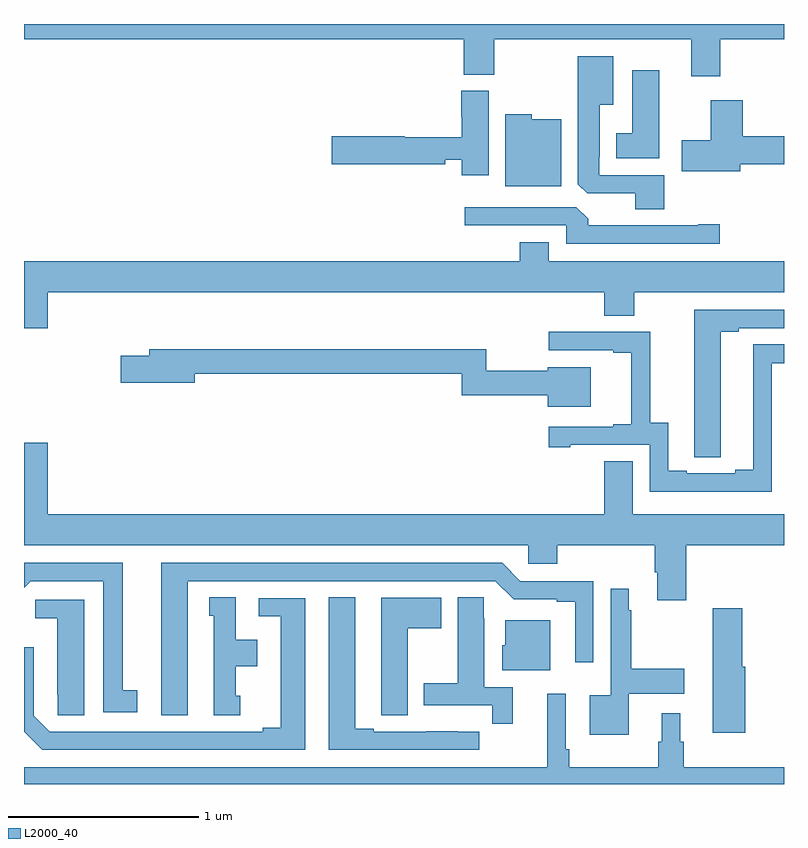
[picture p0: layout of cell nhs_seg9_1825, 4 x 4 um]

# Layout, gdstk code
import gdstk
lib = gdstk.Library(unit=1e-6, precision=1e-09)
def P(c, l, *ps):  # polygons
    for p in ps: c.add(gdstk.Polygon(p, *l))
L2000_40 = (2000, 40)

nhs_seg9_1825 = lib.new_cell('nhs_seg9_1825')
P(nhs_seg9_1825, L2000_40, [(216.665,1196.42),(217,1196.42),(217,1196.5),(213,1196.5),(213,1196.42),(215.315,1196.42),(215.315,1196.233),(215.475,1196.233),(215.475,1196.42),(216.512,1196.42),(216.512,1196.226),(216.665,1196.226)],
  [(216.371,1195.704),(216.027,1195.704),(216.027,1195.801),(216.031,1195.801),(216.031,1196.075),(216.1,1196.075),(216.1,1196.329),(215.915,1196.329),(215.915,1195.657),(215.964,1195.608),(216.218,1195.608),(216.218,1195.525),(216.371,1195.525)],
  [(216.343,1196.257),(216.2,1196.257),(216.2,1195.924),(216.116,1195.924),(216.116,1195.793),(216.343,1195.793)],
  [(215.446,1196.148),(215.3,1196.148),(215.3,1196.012),(215.305,1196.012),(215.305,1195.904),(215.004,1195.904),(215.004,1195.91),(214.62,1195.91),(214.62,1195.763),(215.216,1195.763),(215.216,1195.786),(215.305,1195.786),(215.305,1195.704),(215.446,1195.704)],
  [(216.769,1195.763),(217,1195.763),(217,1195.91),(216.782,1195.91),(216.782,1196.098),(216.614,1196.098),(216.614,1195.887),(216.462,1195.887),(216.462,1195.724),(216.769,1195.724)],
  [(215.827,1195.999),(215.673,1195.999),(215.673,1196.026),(215.534,1196.026),(215.534,1195.646),(215.827,1195.646)],
  [(216.661,1195.445),(216.548,1195.445),(216.548,1195.44),(215.969,1195.44),(215.969,1195.474),(215.907,1195.536),(215.319,1195.536),(215.319,1195.44),(215.853,1195.44),(215.853,1195.344),(216.661,1195.344)],
  [(213.124,1195.088),(216.053,1195.088),(216.053,1194.964),(216.213,1194.964),(216.213,1195.088),(217,1195.088),(217,1195.252),(215.761,1195.252),(215.761,1195.351),(215.609,1195.351),(215.609,1195.252),(213,1195.252),(213,1194.9),(213.124,1194.9)],
  [(216.667,1194.88),(216.763,1194.88),(216.763,1194.9),(217,1194.9),(217,1194.996),(216.527,1194.996),(216.527,1194.328),(216.528,1194.328),(216.528,1194.22),(216.667,1194.22)],
  [(216.936,1194.714),(217,1194.714),(217,1194.815),(216.839,1194.815),(216.839,1194.155),(216.743,1194.155),(216.743,1194.135),(216.487,1194.135),(216.487,1194.15),(216.391,1194.15),(216.391,1194.401),(216.297,1194.401),(216.297,1194.879),(215.763,1194.879),(215.763,1194.783),(216.101,1194.783),(216.101,1194.771),(216.197,1194.771),(216.197,1194.394),(216.101,1194.394),(216.101,1194.381),(215.763,1194.381),(215.763,1194.273),(215.875,1194.273),(215.875,1194.285),(216.294,1194.285),(216.294,1194.039),(216.936,1194.039)],
  [(215.983,1194.694),(215.756,1194.694),(215.756,1194.676),(215.434,1194.676),(215.434,1194.787),(213.659,1194.787),(213.659,1194.753),(213.51,1194.753),(213.51,1194.611),(213.898,1194.611),(213.898,1194.658),(215.305,1194.658),(215.305,1194.547),(215.756,1194.547),(215.756,1194.485),(215.983,1194.485)],
  [(216.485,1193.756),(217,1193.756),(217,1193.92),(216.205,1193.92),(216.205,1194.2),(216.053,1194.2),(216.053,1193.92),(213.124,1193.92),(213.124,1194.295),(213,1194.295),(213,1193.756),(215.655,1193.756),(215.655,1193.658),(215.807,1193.658),(215.807,1193.756),(216.32,1193.756),(216.32,1193.614),(216.332,1193.614),(216.332,1193.466),(216.485,1193.466)],
  [(213.862,1193.568),(215.481,1193.568),(215.577,1193.472),(215.804,1193.472),(215.804,1193.46),(215.9,1193.46),(215.9,1193.142),(215.997,1193.142),(215.997,1193.568),(215.613,1193.568),(215.517,1193.664),(213.722,1193.664),(213.722,1192.863),(213.862,1192.863)],
  [(213.595,1192.994),(213.52,1192.994),(213.52,1193.664),(213,1193.664),(213,1193.532),(213.036,1193.568),(213.416,1193.568),(213.416,1192.878),(213.595,1192.878)],
  [(216.184,1192.976),(216.475,1192.976),(216.475,1193.106),(216.196,1193.106),(216.196,1193.414),(216.184,1193.414),(216.184,1193.527),(216.087,1193.527),(216.087,1192.966),(215.978,1192.966),(215.978,1192.76),(216.184,1192.76)],
  [(214.138,1192.965),(214.114,1192.965),(214.114,1193.12),(214.228,1193.12),(214.228,1193.26),(214.114,1193.26),(214.114,1193.483),(213.974,1193.483),(213.974,1193.385),(213.998,1193.385),(213.998,1192.863),(214.138,1192.863)],
  [(215.573,1193.01),(215.422,1193.01),(215.422,1193.372),(215.421,1193.372),(215.421,1193.483),(215.282,1193.483),(215.282,1193.031),(215.105,1193.031),(215.105,1192.914),(215.464,1192.914),(215.464,1192.818),(215.573,1192.818)],
  [(215.395,1192.776),(215.282,1192.776),(215.282,1192.777),(215.116,1192.777),(215.116,1192.776),(214.84,1192.776),(214.84,1192.791),(214.744,1192.791),(214.744,1193.483),(214.604,1193.483),(214.604,1192.68),(215.395,1192.68)],
  [(215.02,1193.32),(215.197,1193.32),(215.197,1193.479),(214.88,1193.479),(214.88,1192.969),(214.881,1192.969),(214.881,1192.861),(215.02,1192.861)],
  [(214.48,1193.478),(214.236,1193.478),(214.236,1193.382),(214.352,1193.382),(214.352,1192.796),(214.256,1192.796),(214.256,1192.776),(213.135,1192.776),(213.051,1192.86),(213.051,1193.221),(213,1193.221),(213,1192.775),(213.095,1192.68),(214.48,1192.68)],
  [(213.316,1193.469),(213.06,1193.469),(213.06,1193.372),(213.176,1193.372),(213.176,1192.969),(213.177,1192.969),(213.177,1192.861),(213.316,1192.861)],
  [(216.797,1193.118),(216.779,1193.118),(216.779,1193.425),(216.625,1193.425),(216.625,1193.118),(216.626,1193.118),(216.626,1192.77),(216.797,1192.77)],
  [(215.77,1193.362),(215.534,1193.362),(215.534,1193.229),(215.516,1193.229),(215.516,1193.099),(215.77,1193.099)],
  [(217,1192.588),(216.473,1192.588),(216.473,1192.722),(216.454,1192.722),(216.454,1192.873),(216.356,1192.873),(216.356,1192.722),(216.337,1192.722),(216.337,1192.588),(215.87,1192.588),(215.87,1192.684),(215.85,1192.684),(215.85,1192.975),(215.753,1192.975),(215.753,1192.588),(213,1192.588),(213,1192.5),(217,1192.5)])

lib.write_gds('nhs_seg9_1825.gds')
